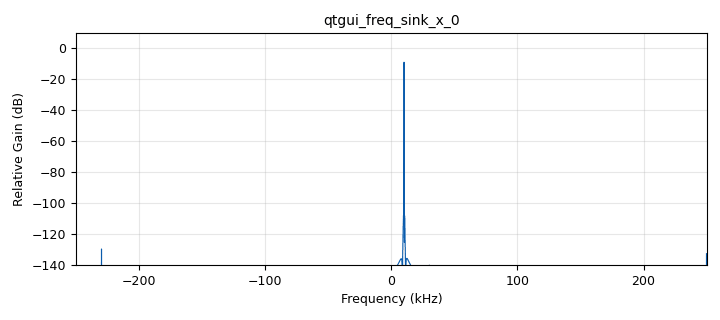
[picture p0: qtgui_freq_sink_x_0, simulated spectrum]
options:
  parameters:
    generate_options: qt_gui
    id: testeLNAzeenko
    output_language: python
    title: Not titled yet
  states: {}

blocks:
- name: freq
  id: variable_qtgui_range
  parameters:
    start: 400e6
    step: 100e3
    stop: 600e6
    value: 430e6
  states: {}
- name: freqCos
  id: variable_qtgui_range
  parameters:
    start: 10e3
    step: 1e3
    stop: 200e6
    value: 10e3
  states: {}
- name: gain
  id: variable_qtgui_range
  parameters:
    rangeType: int
    start: '-12'
    step: '1'
    stop: '64'
    value: '40'
  states: {}
- name: samp_rate
  id: variable
  parameters:
    value: 0.5e6
  states: {}
- name: analog_sig_source_x_0
  id: analog_sig_source_x
  parameters:
    amp: '1'
    freq: freqCos
    offset: '0'
    phase: '0'
    samp_rate: samp_rate
    type: complex
    waveform: analog.GR_COS_WAVE
  states: {}
- name: limesdr_sink_0
  id: limesdr_sink
  parameters:
    allow_tcxo_dac: '0'
    channel_mode: '0'
    gain_dB_ch0: gain
    oversample: '0'
    pa_path_ch0: '1'
    rf_freq: freq
    samp_rate: samp_rate
  states: {}
- name: qtgui_freq_sink_x_0
  id: qtgui_freq_sink_x
  parameters:
    bw: samp_rate
    fc: '0'
    fftsize: '8192'
    type: complex
  states: {}

connections:
- [analog_sig_source_x_0, '0', limesdr_sink_0, '0']
- [analog_sig_source_x_0, '0', qtgui_freq_sink_x_0, '0']

metadata:
  file_format: 1
  grc_version: 3.10.7.0
